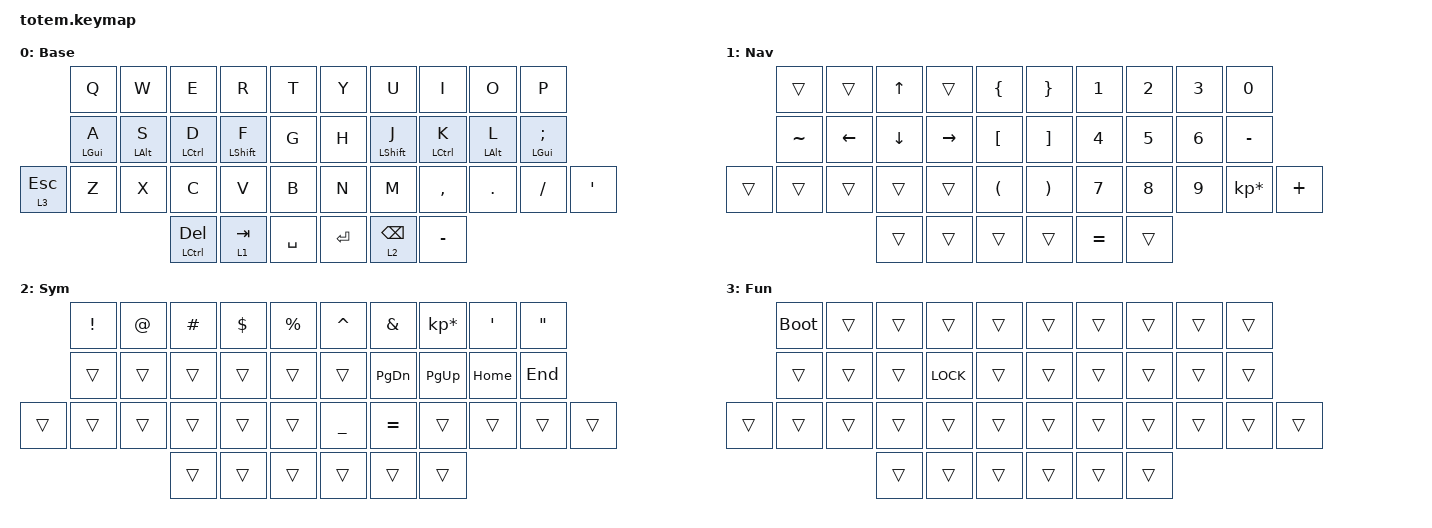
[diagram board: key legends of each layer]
//
//                                                        ▀▀▀▀▀     ▀▀▀▀▀          ▀▀█▀▀
//                                                        ▄▀▀▀▄  ▄  ▄▀▀▀▄  ▄  ▄▀▀▀▄  █  ▄▀▀▀▄
//                                                        █   █  █  █   █  █  █   █  █  █   █
//                                                         ▀▀▀   █   ▀▀▀   █   ▀▀▀   ▀   ▀▀▀
//                                                               █      ▄▄▄█▄▄▄    █   █  
//                                                               ▀      █  █  █     █▄█
//                                                             ▀▀▀▀▀    █  █  █      ▀
//                                                                      ▀  ▀  ▀
//
// ▄▄▄▄▄▄▄▄▄▄▄▄▄▄▄▄▄▄▄▄▄▄▄▄▄▄▄▄▄▄▄▄▄▄▄▄▄▄▄▄▄▄▄▄▄▄▄▄▄▄▄▄▄▄▄▄▄▄▄▄▄▄▄▄▄▄▄▄▄▄▄▄▄▄▄▄▄▄▄▄▄▄▄▄▄▄▄▄▄▄▄▄▄▄▄▄▄▄▄▄▄▄▄▄▄▄▄▄▄▄▄▄▄▄▄▄▄▄▄▄▄▄▄▄▄▄▄▄▄▄▄▄▄▄▄▄▄▄▄▄▄▄▄▄▄▄▄▄▄

#include <behaviors.dtsi>
#include <dt-bindings/zmk/keys.h>

#define Base        0
#define Nav         1
#define Sym         2
#define Fun         3

&mt {
    quick-tap-ms = <100>;
    global-quick-tap;
    flavor = "tap-preferred";
    tapping-term-ms = <170>;
};

&lt {
    tapping-term-ms = <240>;
    flavor = "balanced";
    quick-tap-ms = <150>;
};

/ {
    behaviors {
        hm: homerow_mods {
            compatible = "zmk,behavior-hold-tap";
            label = "HOMEROW_MODS";
            #binding-cells = <2>;
            flavor = "tap-preferred";
            tapping-term-ms = <200>;
            quick-tap-ms = <150>;
            global-quick-tap;
            bindings = <&kp>, <&kp>;
        };
				hmi: homerow_mods_increased {
            compatible = "zmk,behavior-hold-tap";
            label = "HOMEROW_MODS_INCREASED";
            #binding-cells = <2>;
            flavor = "tap-preferred";
            tapping-term-ms = <400>;
            quick-tap-ms = <350>;
            global-quick-tap;
            bindings = <&kp>, <&kp>;
        };
    };

    combos { compatible = "zmk,combos"; };

    keymap {
        compatible = "zmk,keymap";

        Base {
            display-name = "Base";
            bindings = <
              &kp Q       &kp W       &kp E          &kp R         &kp T        &kp Y    &kp U        &kp I        &kp O       &kp P
              &hmi LGUI A  &hm LALT S  &hm LCTRL D    &hm LSHIFT F  &kp G        &kp H    &hm LSHFT J  &hm LCTRL K  &hm LALT L  &hmi LGUI SEMICOLON
&lt 3 ESCAPE  &kp Z       &kp X       &kp C          &kp V         &kp B        &kp N    &kp M        &kp COMMA    &kp DOT     &kp SLASH           &kp APOSTROPHE
                                      &mt LCTRL DEL  &lt 1 TAB     &kp SPACE    &kp RET  &lt 2 BSPC   &kp MINUS
            >;
        };

        Nav {
            display-name = "Nav";
            bindings = <
              &trans          &trans     &kp UP_ARROW  &trans     &kp LBRC    &kp RBRC  &kp NUMBER_1  &kp NUMBER_2  &kp NUMBER_3  &kp NUMBER_0
              &kp TILDE       &kp LEFT   &kp DOWN      &kp RIGHT  &kp LBKT    &kp RBKT  &kp NUMBER_4  &kp NUMBER_5  &kp NUMBER_6  &kp MINUS
							&trans          &trans     &trans        &trans     &trans      &kp LPAR  &kp RPAR      &kp NUMBER_7  &kp NUMBER_8  &kp NUMBER_9  &kp KP_MULTIPLY  &kp PLUS
																				 &trans        &trans     &trans      &trans    &kp EQUAL			&trans
            >;
        };

        Sym {
            display-name = "Sym";
            bindings = <
                &kp EXCL  &kp AT  &kp HASH  &kp DOLLAR  &kp PERCENT    &kp CARET  &kp AMPERSAND  &kp KP_ASTERISK  &kp SQT  &kp DQT
                &trans    &trans  &trans    &trans      &trans         &trans     &kp PG_DN		   &kp PG_UP 	      &kp HOME &kp END
								&trans  &trans    &trans    &trans      &trans         &trans     &kp UNDER      &kp EQUAL        &trans  &trans           &trans   &trans
                                  &trans    &trans      &trans         &trans     &trans         &trans
            >;
        };

        Fun {
            display-name = "Fun";
            bindings = <
        &bootloader  &trans  &trans  &trans  &trans    &trans  &trans  &trans  &trans   &trans
        &trans       &trans  &trans  &kp K_LOCK &trans   &trans  &trans  &trans  &trans   &trans
&trans  &trans       &trans  &trans  &trans  &trans    &trans  &trans  &trans  &trans   &trans  &trans
                             &trans  &trans  &trans    &trans  &trans  &trans
            >;
        };
    };
};
